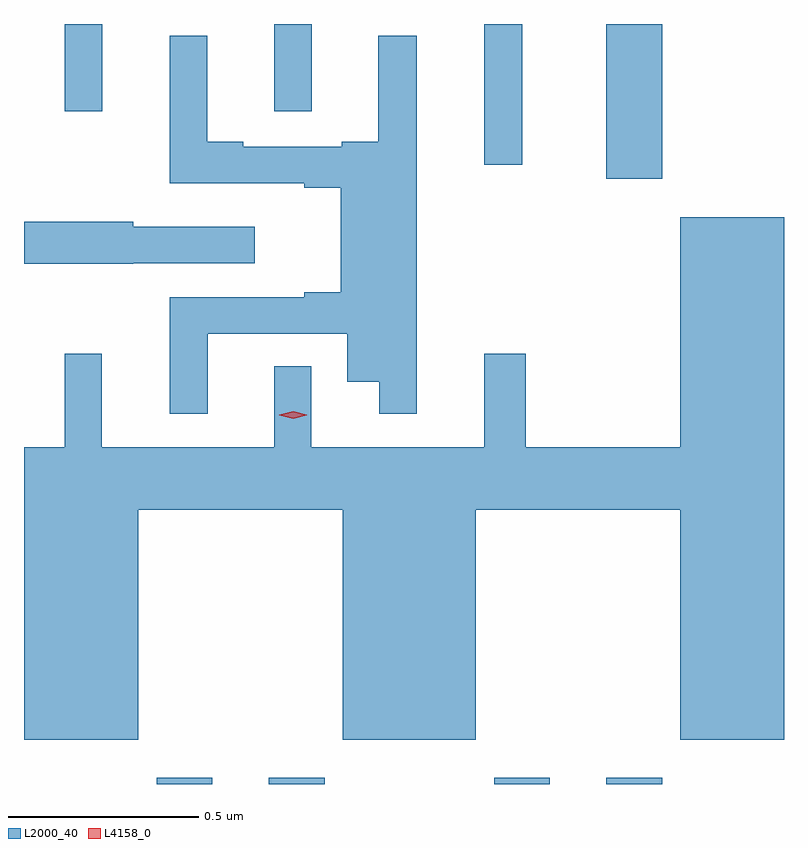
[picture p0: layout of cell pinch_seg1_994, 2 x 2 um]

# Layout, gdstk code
import gdstk
lib = gdstk.Library(unit=1e-6, precision=1e-09)
def R(c, l, rs):  # rectangles x0, y0, x1, y1
    for r in rs: c.add(gdstk.rectangle(r[:2], r[2:], *l))
def P(c, l, *ps):  # polygons
    for p in ps: c.add(gdstk.Polygon(p, *l))
L2000_40 = (2000, 40)
L4158_0 = (4158, 0)

pinch_seg1_994 = lib.new_cell('pinch_seg1_994')
R(pinch_seg1_994, L2000_40, [(354.448,501.726,354.595,501.742), (354.743,501.726,354.891,501.742), (355.336,501.726,355.483,501.742), (355.631,501.726,355.779,501.742), (355.631,503.319,355.779,503.726), (355.31,503.355,355.41,503.726), (354.206,503.496,354.305,503.726), (354.758,503.496,354.856,503.726)])
P(pinch_seg1_994, L2000_40, [(354.583,502.911),(354.95,502.911),(354.95,502.784),(355.034,502.784),(355.034,502.701),(355.133,502.701),(355.133,502.914),(355.132,502.914),(355.132,503.695),(355.031,503.695),(355.031,503.416),(354.935,503.416),(354.935,503.403),(354.676,503.403),(354.676,503.416),(354.581,503.416),(354.581,503.695),(354.482,503.695),(354.482,503.307),(354.836,503.307),(354.836,503.295),(354.932,503.295),(354.932,503.02),(354.836,503.02),(354.836,503.007),(354.482,503.007),(354.482,502.701),(354.583,502.701)],
  [(354.4,502.448),(354.938,502.448),(354.938,501.842),(355.288,501.842),(355.288,502.448),(355.826,502.448),(355.826,501.842),(356.099,501.842),(356.099,503.218),(355.826,503.218),(355.826,502.612),(355.42,502.612),(355.42,502.858),(355.31,502.858),(355.31,502.612),(354.855,502.612),(354.855,502.826),(354.758,502.826),(354.758,502.612),(354.304,502.612),(354.304,502.858),(354.206,502.858),(354.206,502.612),(354.099,502.612),(354.099,501.842),(354.4,501.842)],
  [(354.386,503.097),(354.706,503.097),(354.706,503.193),(354.386,503.193),(354.386,503.206),(354.099,503.206),(354.099,503.095),(354.386,503.095)])
P(pinch_seg1_994, L4158_0, [(354.807,502.687),(354.771,502.697),(354.771,502.697),(354.771,502.698),(354.807,502.707),(354.843,502.698),(354.843,502.697),(354.843,502.697)])

lib.write_gds('pinch_seg1_994.gds')
